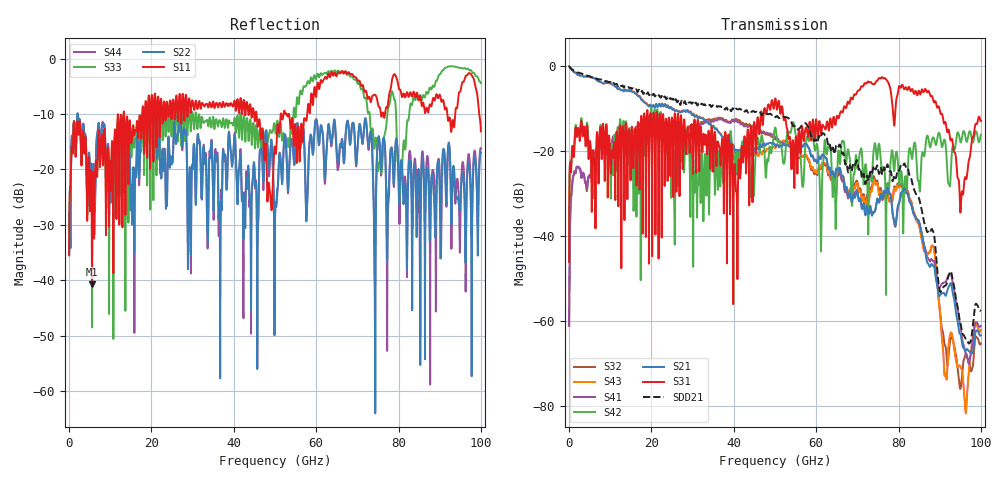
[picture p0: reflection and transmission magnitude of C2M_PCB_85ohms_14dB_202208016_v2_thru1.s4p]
! Info: Touchstone file created by Circ.  Input file=Intel_C2M_200G_3p5in_202208016_staggered.circ
# Hz S RI R 50
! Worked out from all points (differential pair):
!   10000 points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, 10 MHz to 100 GHz, reference 50 ohm
!   strongest paths, dB at 10 MHz, 25.01 GHz, 50.01 GHz, 75.01 GHz, 100 GHz:
!     S31: -46.1, -12.3, -7.9, -3.3, -13.0
!     S21: -0.1, -10.2, -18.7, -31.5, -63.4
!     S42: -46.1, -19.3, -14.6, -19.9, -16.3
!     S41: -61.1, -15.6, -16.8, -31.5, -61.1
!     S43: -0.1, -10.2, -19.4, -28.5, -62.1
!     S32: -61.1, -15.1, -17.3, -28.0, -65.3
!   taken as a pair (ports 1,3 in; 2,4 out), SDD21 dB: -0.1, -8.0, -12.0, -24.2, -57.4
!   lowest |S11| = -40.7 dB at 5.57 GHz (marker M1), VSWR 1.02, Z = 49.4 - j0.696 ohm
!   |S11| at or under -10 dB: start of sweep to 13.23 GHz; 45.52 GHz to 51.4 GHz (5.877 GHz wide, 12.1 % of centre); 53.39 GHz to 57.82 GHz (4.426 GHz wide, 7.96 % of centre)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
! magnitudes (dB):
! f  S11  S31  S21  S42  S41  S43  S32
! 10 MHz  -35.4  -46.1  -0.1  -46.1  -61.1  -0.1  -61.1
! 1.09 GHz  -12.1  -21.1  -1.4  -19.6  -25.8  -1.4  -25.8
! 5.57 GHz  -40.7  -29.2  -2.8  -24.0  -23.3  -2.8  -23.4
! 80.93 GHz  -6.9  -4.5  -29.7  -28.4  -29.9  -28.6  -28.3
! 91.41 GHz  -9.0  -13.3  -54.1  -18.4  -50.9  -72.2  -66.0
! 95.3 GHz  -4.8  -30.1  -64.3  -17.5  -63.0  -71.3  -74.1
! 100 GHz  -13.1  -13.0  -63.4  -16.3  -61.1  -62.1  -65.3
